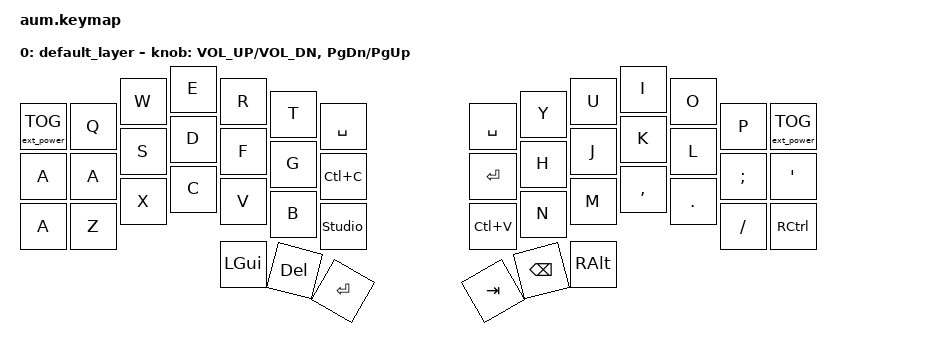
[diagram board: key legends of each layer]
#include <behaviors.dtsi>
#include <dt-bindings/zmk/keys.h>
#include <dt-bindings/zmk/bt.h>
#include <dt-bindings/zmk/ext_power.h>
#include <dt-bindings/zmk/rgb.h>


// / {
//     chosen {
//         zmk,physical-layout = &matrix_physical_layout;
//     };
// };
/ {

	keymap {
		compatible = "zmk,keymap";

		default_layer {
			// --------------------------------------------------------------------------------------------------------------------------------------------------------------------
			// |   ESC   |    Q    |    W    |    E    |    R    |    T    |                                          |    Y    |    U    |    I    |    O    |    P    |    \    |
			// |   TAB   |    A    |    S    |    D    |    F    |    G    |                                          |    H    |    J    |    K    |    L    |    ;    |    '    |
			// |  SHIFT  |    Z    |    X    |    C    |    V    |    B    | CTRL+A  | CTRL+C  |  |  CTRL+V |  CTRL+X |    N    |    M    |    ,    |    .    |    /    |  R CTRL |
			//                               |   GUI   |   DEL   | RETURN  |  SPACE  | ESCAPE  |  |  RETURN |  SPACE  |   TAB   |   BSPC  |  R ALT  |
			bindings = <
				&ext_power EP_TOG   &kp Q    &kp W    &kp E     &kp R     &kp T      &kp SPACE        &kp SPACE &kp Y     &kp U     &kp I     &kp O     &kp P    &ext_power EP_TOG
				&kp A    &kp A    &kp S    &kp D     &kp F     &kp G      &kp LC(C)        &kp RET   &kp H     &kp J     &kp K     &kp L     &kp SEMI &kp SQT
				&kp A &kp Z    &kp X    &kp C     &kp V     &kp B      &studio_unlock       &kp LC(V) &kp N     &kp M     &kp COMMA &kp DOT   &kp FSLH &kp RCTRL
				                                      &kp LGUI  &kp DEL    &kp RET          &kp TAB   &kp BSPC  &kp RALT
			>;

			          sensor-bindings = <&inc_dec_kp C_VOL_UP C_VOL_DN &inc_dec_kp PG_DN PG_UP>;
		};
	};
};
